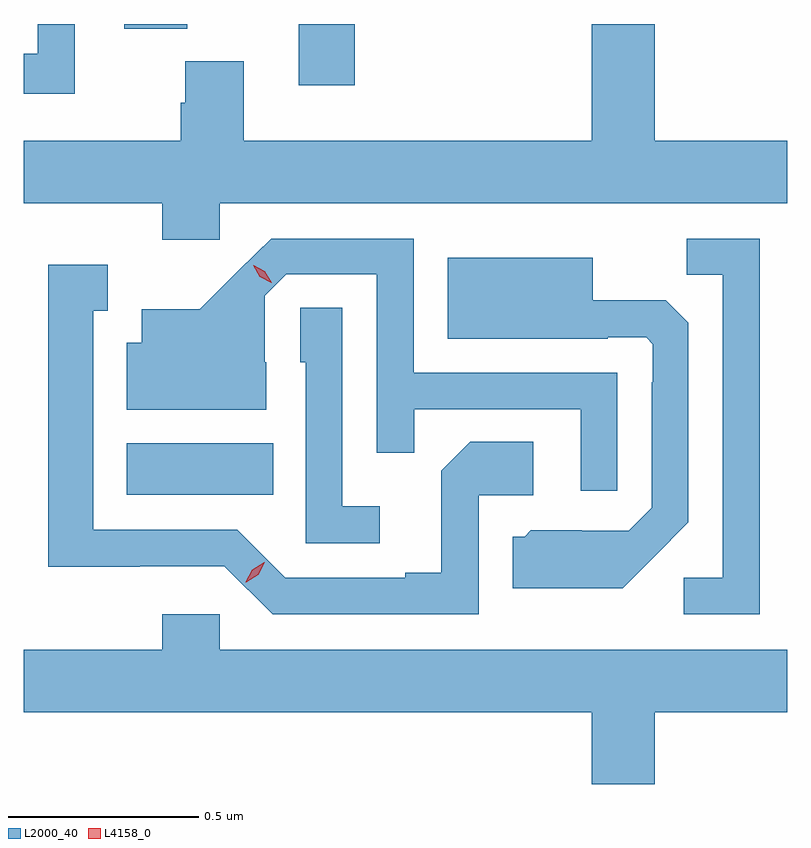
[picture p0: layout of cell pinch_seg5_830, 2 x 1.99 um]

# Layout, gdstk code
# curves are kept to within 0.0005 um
import gdstk
lib = gdstk.Library(unit=1e-6, precision=1e-09)
def R(c, l, rs):  # rectangles x0, y0, x1, y1
    for r in rs: c.add(gdstk.rectangle(r[:2], r[2:], *l))
def P(c, l, *ps):  # polygons
    for p in ps: c.add(gdstk.Polygon(p, *l))
L2000_40 = (2000, 40)
L4158_0 = (4158, 0)

pinch_seg5_830 = lib.new_cell('pinch_seg5_830')
R(pinch_seg5_830, L2000_40, [(763.19,881.306,763.574,881.44), (763.64,882.378,763.787,882.538), (763.184,882.526,763.348,882.538)])
P(pinch_seg5_830, L2000_40, [(763.434,882.068),(764.92,882.068),(764.92,882.232),(764.572,882.232),(764.572,882.538),(764.408,882.538),(764.408,882.232),(763.496,882.232),(763.496,882.441),(763.343,882.441),(763.343,882.332),(763.331,882.332),(763.331,882.232),(762.92,882.232),(762.92,882.068),(763.283,882.068),(763.283,881.973),(763.434,881.973)],
  [(763.054,882.538),(762.957,882.538),(762.957,882.46),(762.92,882.46),(762.92,882.356),(763.054,882.356)],
  [(764.475,881.625),(763.941,881.625),(763.941,881.976),(763.568,881.976),(763.381,881.791),(763.229,881.791),(763.229,881.704),(763.19,881.704),(763.19,881.528),(763.555,881.528),(763.555,881.652),(763.551,881.652),(763.551,881.826),(763.608,881.883),(763.845,881.883),(763.845,881.416),(763.943,881.416),(763.943,881.529),(764.379,881.529),(764.379,881.316),(764.475,881.316)],
  [(764.847,881.976),(764.656,881.976),(764.656,881.881),(764.751,881.881),(764.751,881.088),(764.649,881.088),(764.649,880.992),(764.847,880.992)],
  [(764.569,881.141),(764.661,881.234),(764.661,881.756),(764.602,881.815),(764.41,881.815),(764.41,881.926),(764.03,881.926),(764.03,881.714),(764.45,881.714),(764.45,881.718),(764.55,881.718),(764.568,881.7),(764.568,881.6),(764.565,881.6),(764.565,881.271),(764.505,881.211),(764.382,881.211),(764.382,881.212),(764.248,881.212),(764.232,881.196),(764.201,881.196),(764.201,881.06),(764.489,881.06)],
  [(764.112,881.304),(764.254,881.304),(764.254,881.444),(764.089,881.444),(764.013,881.368),(764.013,881.101),(763.919,881.101),(763.919,881.088),(763.605,881.088),(763.479,881.214),(763.102,881.214),(763.102,881.787),(763.141,881.787),(763.141,881.908),(762.984,881.908),(762.984,881.117),(763.224,881.117),(763.224,881.118),(763.446,881.118),(763.572,880.992),(764.112,880.992)],
  [(763.852,881.275),(763.755,881.275),(763.755,881.795),(763.644,881.795),(763.644,881.652),(763.659,881.652),(763.659,881.178),(763.852,881.178)],
  [(764.572,880.736),(764.92,880.736),(764.92,880.9),(763.434,880.9),(763.434,880.993),(763.283,880.993),(763.283,880.9),(762.92,880.9),(762.92,880.736),(764.408,880.736),(764.408,880.548),(764.572,880.548)])
P(pinch_seg5_830, L4158_0, [(763.569,881.861),(763.539,881.876),(763.521,881.906),(763.521,881.906),(763.522,881.906),(763.552,881.891),(763.57,881.861),(763.57,881.861)],
  [(763.502,881.076),(763.502,881.077),(763.519,881.109),(763.55,881.129),(763.551,881.129),(763.551,881.129),(763.534,881.096),(763.503,881.076)])

lib.write_gds('pinch_seg5_830.gds')
